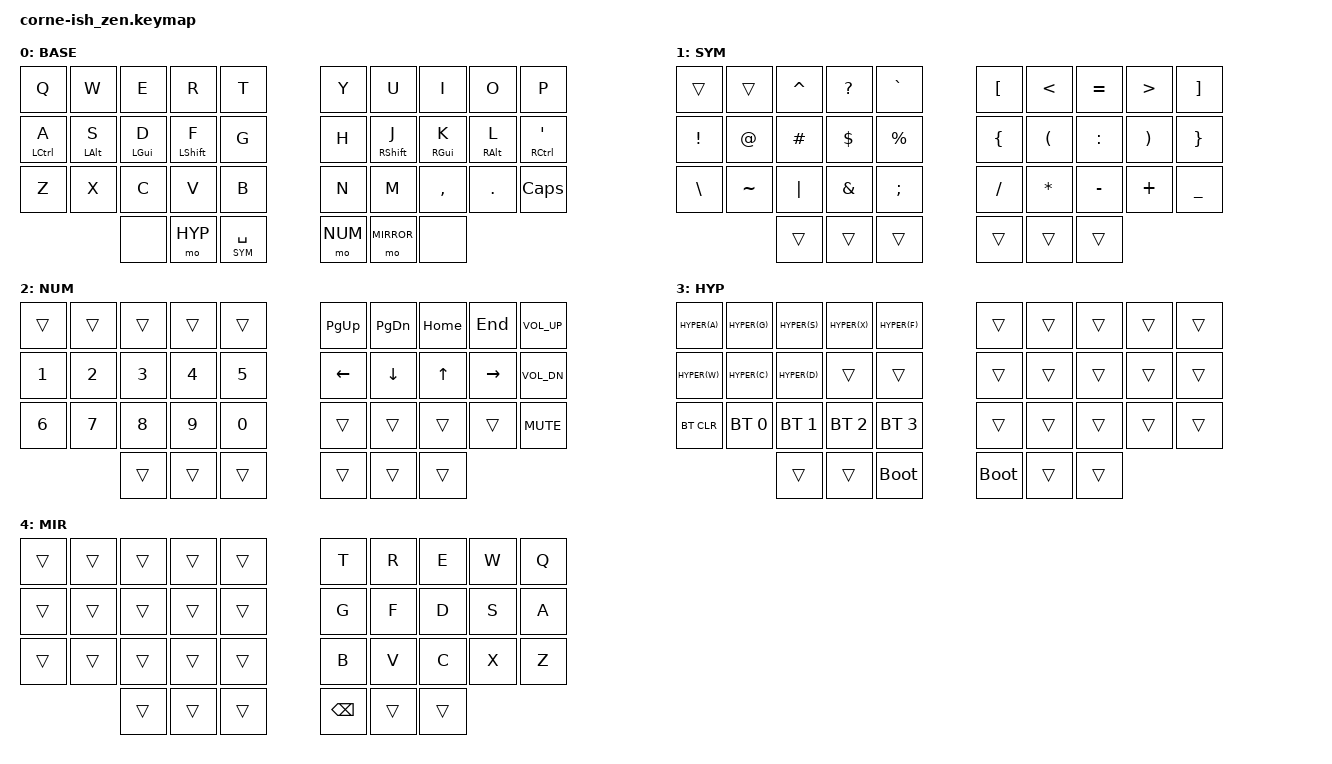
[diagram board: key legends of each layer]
/*
 * Corneish Zen 36-key keymap - ported from QMK Vial
 *
 * Key positions:
 * ╭──────────────────────╮ ╭──────────────────────╮
 * │  0   1   2   3   4   │ │   5   6   7   8   9  │
 * │ 10  11  12  13  14   │ │  15  16  17  18  19  │
 * │ 20  21  22  23  24   │ │  25  26  27  28  29  │
 * ╰───────────╮ 30 31 32 │ │ 33 34 35 ╭───────────╯
 *             ╰──────────╯ ╰──────────╯
 */

#include <behaviors.dtsi>
#include <dt-bindings/zmk/keys.h>
#include <dt-bindings/zmk/bt.h>

/ {
    chosen {
        zmk,matrix_transform = &five_column_transform;
    };
};

#define BASE 0
#define SYM  1
#define NUM  2
#define HYP  3
#define MIRROR 4

// Hyper key macro (Ctrl+Alt+Gui+Shift)
#define HYPER(key) LC(LA(LG(LS(key))))

/ {
    behaviors {
        hm: homerow_mods {
            compatible = "zmk,behavior-hold-tap";
            label = "HOMEROW_MODS";
            #binding-cells = <2>;
            tapping-term-ms = <175>;
            quick-tap-ms = <0>;
            flavor = "tap-preferred";
            bindings = <&kp>, <&kp>;
        };

        lt_spc: layer_tap_space {
            compatible = "zmk,behavior-hold-tap";
            label = "LAYER_TAP_SPACE";
            #binding-cells = <2>;
            tapping-term-ms = <175>;
            quick-tap-ms = <0>;
            flavor = "tap-preferred";
            bindings = <&mo>, <&kp>;
        };
    };

    combos {
        compatible = "zmk,combos";

        combo_lt {
            timeout-ms = <50>;
            key-positions = <15 16>;  // H + J
            bindings = <&kp LT>;
        };

        combo_gt {
            timeout-ms = <50>;
            key-positions = <17 18>;  // K + L
            bindings = <&kp GT>;
        };

        combo_colon {
            timeout-ms = <50>;
            key-positions = <16 17>;  // J + K
            bindings = <&kp COLON>;
        };

        combo_esc {
            timeout-ms = <50>;
            key-positions = <23 24>;  // V + B
            bindings = <&kp ESC>;
        };

        combo_tab {
            timeout-ms = <50>;
            key-positions = <13 14>;  // F + G
            bindings = <&kp TAB>;
        };

        combo_bspc {
            timeout-ms = <50>;
            key-positions = <12 13>;  // D + F
            bindings = <&kp BSPC>;
        };

        combo_enter {
            timeout-ms = <50>;
            key-positions = <25 26>;  // N + M
            bindings = <&kp RET>;
        };
    };

    keymap {
        compatible = "zmk,keymap";

        base_layer {
            label = "BASE";
            bindings = <
                &kp Q       &kp W       &kp E       &kp R       &kp T           &kp Y       &kp U       &kp I       &kp O       &kp P
                &hm LCTRL A &hm LALT S  &hm LGUI D  &hm LSHFT F &kp G           &kp H       &hm RSHFT J &hm RGUI K  &hm RALT L  &hm RCTRL SQT
                &kp Z       &kp X       &kp C       &kp V       &kp B           &kp N       &kp M       &kp COMMA   &kp DOT     &kp CAPS
                                        &none       &mo HYP     &lt_spc SYM SPACE    &mo NUM     &mo MIRROR  &none
            >;
        };

        symbol_layer {
            label = "SYM";
            bindings = <
                &trans      &trans      &kp CARET   &kp QMARK   &kp GRAVE       &kp LBKT    &kp LT      &kp EQUAL   &kp GT      &kp RBKT
                &kp EXCL    &kp AT      &kp HASH    &kp DLLR    &kp PRCNT       &kp LBRC    &kp LPAR    &kp COLON   &kp RPAR    &kp RBRC
                &kp BSLH    &kp TILDE   &kp PIPE    &kp AMPS    &kp SEMI        &kp FSLH    &kp ASTRK   &kp MINUS   &kp PLUS    &kp UNDER
                                        &trans      &trans      &trans          &trans      &trans      &trans
            >;
        };

        number_layer {
            label = "NUM";
            bindings = <
                &trans      &trans      &trans      &trans      &trans          &kp PG_UP   &kp PG_DN   &kp HOME    &kp END     &kp C_VOL_UP
                &kp N1      &kp N2      &kp N3      &kp N4      &kp N5          &kp LEFT    &kp DOWN    &kp UP      &kp RIGHT   &kp C_VOL_DN
                &kp N6      &kp N7      &kp N8      &kp N9      &kp N0          &trans      &trans      &trans      &trans      &kp C_MUTE
                                        &trans      &trans      &trans          &trans      &trans      &trans
            >;
        };

        hyper_layer {
            label = "HYP";
            bindings = <
                &kp HYPER(A) &kp HYPER(G) &kp HYPER(S) &kp HYPER(X) &kp HYPER(F)   &trans      &trans      &trans      &trans      &trans
                &kp HYPER(W) &kp HYPER(C) &kp HYPER(D) &trans       &trans         &trans      &trans      &trans      &trans      &trans
                &bt BT_CLR   &bt BT_SEL 0 &bt BT_SEL 1 &bt BT_SEL 2 &bt BT_SEL 3   &trans      &trans      &trans      &trans      &trans
                                          &trans       &trans       &bootloader    &bootloader &trans      &trans
            >;
        };

        mirror_layer {
            label = "MIR";
            bindings = <
                &trans      &trans      &trans      &trans      &trans          &kp T       &kp R       &kp E       &kp W       &kp Q
                &trans      &trans      &trans      &trans      &trans          &kp G       &kp F       &kp D       &kp S       &kp A
                &trans      &trans      &trans      &trans      &trans          &kp B       &kp V       &kp C       &kp X       &kp Z
                                        &trans      &trans      &trans          &kp BSPC    &trans      &trans
            >;
        };
    };
};
